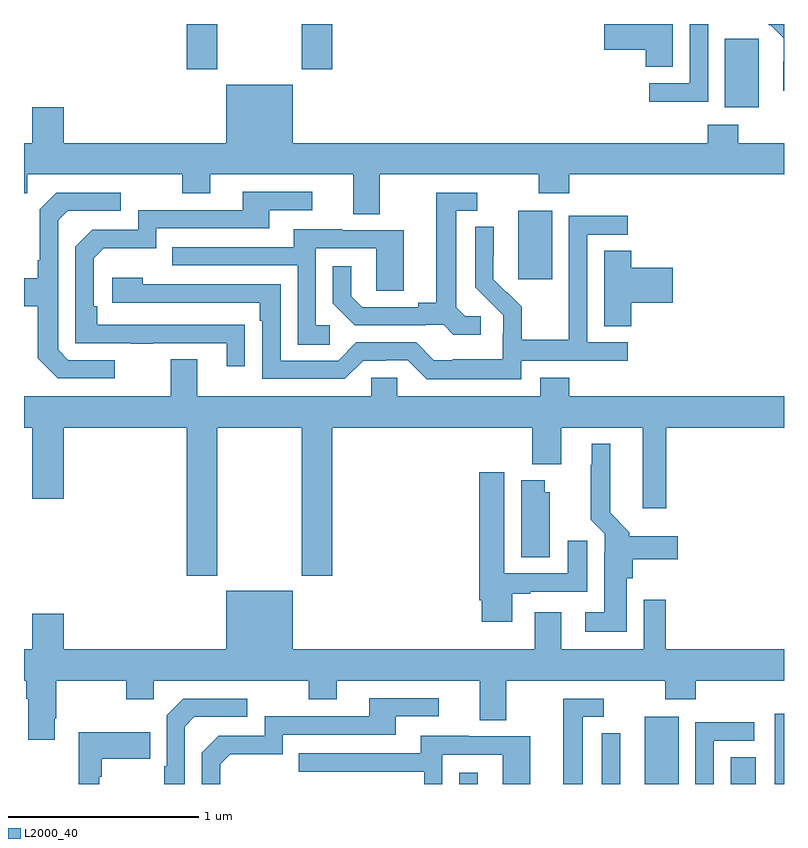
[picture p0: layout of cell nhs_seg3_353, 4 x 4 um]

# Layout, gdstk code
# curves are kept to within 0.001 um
import gdstk
lib = gdstk.Library(unit=1e-6, precision=1e-09)
def R(c, l, rs):  # rectangles x0, y0, x1, y1
    for r in rs: c.add(gdstk.rectangle(r[:2], r[2:], *l))
def P(c, l, *ps):  # polygons
    for p in ps: c.add(gdstk.Polygon(p, *l))
L2000_40 = (2000, 40)

nhs_seg3_353 = lib.new_cell('nhs_seg3_353')
R(nhs_seg3_353, L2000_40, [(131.292,672.4,131.389,672.46), (132.266,672.4,132.445,672.754), (132.719,672.4,132.85,672.542), (132.95,672.4,133,672.769), (131.6,675.057,131.779,675.418), (132.689,675.962,132.868,676.323), (129.857,676.161,130.017,676.4), (130.462,676.161,130.622,676.4)])
P(nhs_seg3_353, L2000_40, [(132.415,676.4),(132.054,676.4),(132.054,676.265),(132.272,676.265),(132.272,676.174),(132.415,676.174)],
  [(133,676.4),(132.916,676.4),(132.924,676.392),(132.927,676.395),(132.998,676.325),(132.998,676.202),(132.996,676.202),(132.996,676.048),(133,676.048)],
  [(132.6,676.4),(132.504,676.4),(132.504,676.089),(132.291,676.089),(132.291,675.991),(132.6,675.991)],
  [(130.873,675.608),(131.71,675.608),(131.71,675.509),(131.87,675.509),(131.87,675.608),(133,675.608),(133,675.772),(132.759,675.772),(132.759,675.871),(132.599,675.871),(132.599,675.772),(130.414,675.772),(130.414,676.081),(130.064,676.081),(130.064,675.772),(129.208,675.772),(129.208,675.961),(129.044,675.961),(129.044,675.772),(129,675.772),(129,675.509),(129.018,675.509),(129.018,675.608),(129.832,675.608),(129.832,675.509),(129.979,675.509),(129.979,675.608),(130.733,675.608),(130.733,675.4),(130.873,675.4)],
  [(130.163,674.816),(129.386,674.817),(129.386,674.914),(129.366,674.914),(129.366,675.168),(129.419,675.221),(129.696,675.221),(129.696,675.324),(130.291,675.324),(130.291,675.42),(130.516,675.42),(130.516,675.516),(130.151,675.516),(130.151,675.42),(129.6,675.42),(129.6,675.318),(129.36,675.318),(129.27,675.228),(129.27,674.721),(129.565,674.721),(129.565,674.716),(129.677,674.716),(129.677,674.721),(130.067,674.721),(130.067,674.598),(130.163,674.598)],
  [(129.477,674.631),(129.234,674.631),(129.18,674.685),(129.18,675.366),(129.231,675.417),(129.508,675.417),(129.508,675.513),(129.171,675.513),(129.084,675.426),(129.084,675.157),(129.072,675.157),(129.072,675.061),(129,675.061),(129,674.914),(129.072,674.914),(129.072,674.641),(129.177,674.535),(129.477,674.535)],
  [(131.404,674.862),(131.322,674.862),(131.275,674.909),(131.275,675.417),(131.386,675.417),(131.386,675.513),(131.171,675.513),(131.171,674.933),(131.075,674.933),(131.075,674.91),(130.78,674.91),(130.723,674.967),(130.723,675.124),(130.626,675.124),(130.626,674.93),(130.742,674.814),(131.114,674.814),(131.114,674.817),(131.208,674.817),(131.26,674.765),(131.404,674.765)],
  [(131.616,674.628),(132.178,674.628),(132.178,674.724),(131.964,674.724),(131.964,675.291),(132.178,675.291),(132.178,675.39),(131.868,675.39),(131.868,674.96),(131.866,674.96),(131.866,674.737),(131.621,674.737),(131.621,674.911),(131.544,674.988),(131.541,674.985),(131.471,675.056),(131.472,675.332),(131.376,675.332),(131.376,675.014),(131.522,674.866),(131.522,674.769),(131.52,674.769),(131.52,674.635),(131.257,674.635),(131.257,674.631),(131.157,674.631),(131.064,674.724),(130.749,674.724),(130.653,674.628),(130.35,674.628),(130.35,675.03),(129.626,675.03),(129.626,675.064),(129.465,675.064),(129.465,674.934),(130.241,674.934),(130.241,674.837),(130.254,674.837),(130.254,674.532),(130.689,674.532),(130.785,674.628),(130.904,674.628),(130.904,674.631),(131.019,674.631),(131.119,674.531),(131.616,674.531)],
  [(130.608,674.814),(130.536,674.814),(130.536,675.219),(130.854,675.219),(130.854,674.995),(130.999,674.995),(130.999,675.315),(130.675,675.315),(130.675,675.319),(130.421,675.319),(130.421,675.225),(129.781,675.225),(129.781,675.129),(130.44,675.129),(130.44,674.713),(130.608,674.713)],
  [(132.197,674.933),(132.415,674.933),(132.415,675.116),(132.197,675.116),(132.197,675.206),(132.053,675.206),(132.053,674.809),(132.197,674.809)],
  [(130.017,674.276),(130.462,674.276),(130.462,673.497),(130.622,673.497),(130.622,674.276),(131.675,674.276),(131.675,674.084),(131.827,674.084),(131.827,674.276),(132.257,674.276),(132.257,673.851),(132.38,673.851),(132.38,674.276),(133,674.276),(133,674.44),(131.87,674.44),(131.87,674.539),(131.717,674.539),(131.717,674.44),(130.965,674.44),(130.965,674.538),(130.827,674.538),(130.827,674.44),(129.913,674.44),(129.913,674.635),(129.773,674.635),(129.773,674.44),(129,674.44),(129,674.276),(129.044,674.276),(129.044,673.902),(129.208,673.902),(129.208,674.276),(129.857,674.276),(129.857,673.497),(130.017,673.497)],
  [(132.172,673.482),(132.203,673.482),(132.203,673.583),(132.442,673.583),(132.442,673.705),(132.186,673.705),(132.186,673.726),(132.085,673.828),(132.085,674.191),(131.987,674.191),(131.987,674.081),(131.983,674.081),(131.983,673.79),(132.057,673.716),(132.057,673.622),(132.053,673.622),(132.053,673.303),(131.955,673.303),(131.955,673.202),(132.172,673.202)],
  [(131.569,673.401),(131.665,673.401),(131.665,673.413),(131.965,673.413),(131.965,673.681),(131.861,673.681),(131.861,673.509),(131.527,673.509),(131.527,674.041),(131.396,674.041),(131.396,673.366),(131.408,673.366),(131.408,673.254),(131.569,673.254)],
  [(131.767,673.935),(131.74,673.935),(131.74,673.999),(131.618,673.999),(131.618,673.594),(131.767,673.594)],
  [(129.163,672.745),(129.171,672.745),(129.171,672.944),(129.538,672.944),(129.538,672.845),(129.684,672.845),(129.684,672.944),(130.498,672.944),(130.498,672.845),(130.645,672.845),(130.645,672.944),(131.399,672.944),(131.399,672.736),(131.539,672.736),(131.539,672.944),(132.376,672.944),(132.376,672.845),(132.536,672.845),(132.536,672.944),(133,672.944),(133,673.108),(132.377,673.108),(132.377,673.369),(132.261,673.369),(132.261,673.108),(131.827,673.108),(131.827,673.303),(131.687,673.303),(131.687,673.108),(130.414,673.108),(130.414,673.417),(130.064,673.417),(130.064,673.108),(129.208,673.108),(129.208,673.297),(129.044,673.297),(129.044,673.108),(129,673.108),(129,672.944),(129.011,672.944),(129.011,672.848),(129.023,672.848),(129.023,672.633),(129.163,672.633)],
  [(130.032,672.504),(130.085,672.557),(130.362,672.557),(130.362,672.66),(130.957,672.66),(130.957,672.756),(131.182,672.756),(131.182,672.852),(130.817,672.852),(130.817,672.756),(130.266,672.756),(130.266,672.654),(130.026,672.654),(129.936,672.564),(129.936,672.4),(130.032,672.4)],
  [(129.846,672.702),(129.897,672.753),(130.174,672.753),(130.174,672.849),(129.837,672.849),(129.75,672.762),(129.75,672.493),(129.738,672.493),(129.738,672.4),(129.846,672.4)],
  [(131.941,672.753),(132.052,672.753),(132.052,672.849),(131.837,672.849),(131.837,672.4),(131.941,672.4)],
  [(132.63,672.627),(132.844,672.627),(132.844,672.726),(132.534,672.726),(132.534,672.4),(132.63,672.4)],
  [(129.396,672.437),(129.409,672.437),(129.409,672.533),(129.665,672.533),(129.665,672.673),(129.288,672.673),(129.288,672.4),(129.396,672.4)],
  [(132.137,672.514),(132.138,672.514),(132.138,672.668),(132.042,672.668),(132.042,672.4),(132.137,672.4)],
  [(131.202,672.555),(131.52,672.555),(131.52,672.4),(131.665,672.4),(131.665,672.651),(131.341,672.651),(131.341,672.655),(131.087,672.655),(131.087,672.561),(130.447,672.561),(130.447,672.465),(131.106,672.465),(131.106,672.4),(131.202,672.4)])

lib.write_gds('nhs_seg3_353.gds')
